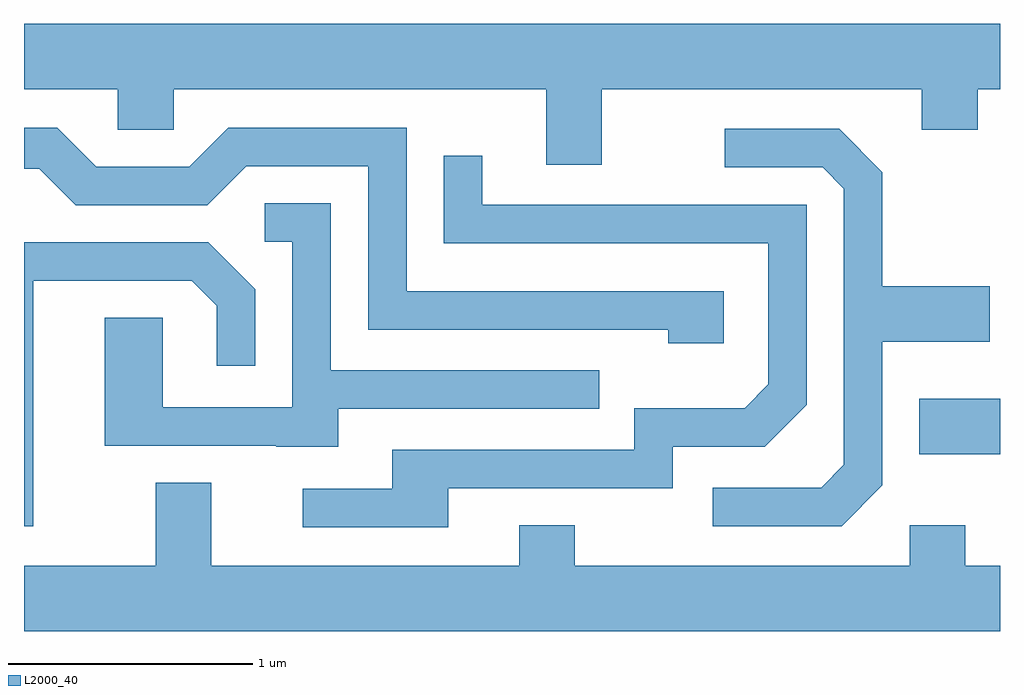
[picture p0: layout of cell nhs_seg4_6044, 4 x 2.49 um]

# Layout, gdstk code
import gdstk
lib = gdstk.Library(unit=1e-6, precision=1e-09)
def R(c, l, rs):  # rectangles x0, y0, x1, y1
    for r in rs: c.add(gdstk.rectangle(r[:2], r[2:], *l))
def P(c, l, *ps):  # polygons
    for p in ps: c.add(gdstk.Polygon(p, *l))
L2000_40 = (2000, 40)

nhs_seg4_6044 = lib.new_cell('nhs_seg4_6044')
R(nhs_seg4_6044, L2000_40, [(365.281,1375.381,365.611,1375.609)])
P(nhs_seg4_6044, L2000_40, [(363.979,1376.876),(365.291,1376.876),(365.291,1376.711),(365.519,1376.711),(365.519,1376.876),(365.611,1376.876),(365.611,1377.144),(361.611,1377.144),(361.611,1376.876),(361.996,1376.876),(361.996,1376.711),(362.224,1376.711),(362.224,1376.876),(363.751,1376.876),(363.751,1376.566),(363.979,1376.566)],
  [(364.479,1376.049),(363.179,1376.049),(363.179,1376.719),(362.449,1376.719),(362.289,1376.559),(361.907,1376.559),(361.747,1376.719),(361.611,1376.719),(361.611,1376.551),(361.674,1376.551),(361.824,1376.401),(362.362,1376.401),(362.522,1376.561),(363.021,1376.561),(363.021,1375.891),(364.251,1375.891),(364.251,1375.836),(364.479,1375.836)],
  [(365.129,1375.254),(365.129,1375.841),(365.569,1375.841),(365.569,1376.069),(365.129,1376.069),(365.129,1376.537),(364.952,1376.714),(364.483,1376.714),(364.483,1376.556),(364.884,1376.556),(364.971,1376.469),(364.971,1375.337),(364.879,1375.244),(364.433,1375.244),(364.433,1375.086),(364.962,1375.086)],
  [(363.349,1375.241),(364.269,1375.241),(364.269,1375.411),(364.647,1375.411),(364.819,1375.584),(364.819,1376.404),(363.489,1376.404),(363.489,1376.603),(363.331,1376.603),(363.331,1376.246),(364.661,1376.246),(364.661,1375.667),(364.564,1375.569),(364.111,1375.569),(364.111,1375.399),(363.121,1375.399),(363.121,1375.239),(362.753,1375.239),(362.753,1375.081),(363.349,1375.081)],
  [(362.899,1375.566),(363.968,1375.566),(363.968,1375.724),(362.869,1375.724),(362.869,1376.409),(362.598,1376.409),(362.598,1376.251),(362.711,1376.251),(362.711,1375.574),(362.179,1375.574),(362.179,1375.939),(361.941,1375.939),(361.941,1375.416),(362.645,1375.416),(362.645,1375.411),(362.899,1375.411)],
  [(361.649,1376.091),(362.299,1376.091),(362.401,1375.989),(362.401,1375.743),(362.559,1375.743),(362.559,1376.057),(362.367,1376.249),(361.611,1376.249),(361.611,1375.086),(361.649,1375.086)],
  [(365.611,1374.924),(365.469,1374.924),(365.469,1375.089),(365.241,1375.089),(365.241,1374.924),(363.869,1374.924),(363.869,1375.089),(363.641,1375.089),(363.641,1374.924),(362.379,1374.924),(362.379,1375.264),(362.151,1375.264),(362.151,1374.924),(361.611,1374.924),(361.611,1374.656),(365.611,1374.656)])

lib.write_gds('nhs_seg4_6044.gds')
